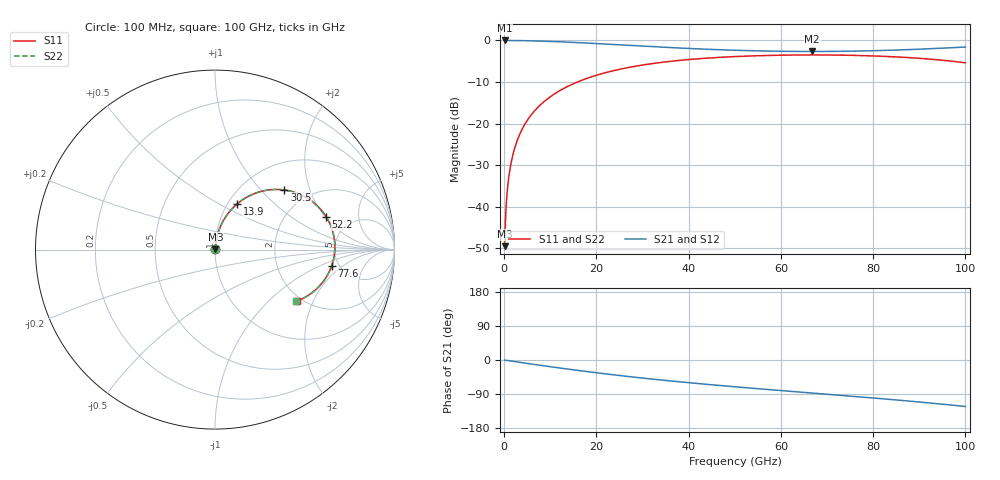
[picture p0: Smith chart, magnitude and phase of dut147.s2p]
! Touchstone file exported from HFSS 2026.1.0
!  File:  C:/ffzhzh/LocalFiles/Ansys_Project_Files/temp_train_RDL_147_1783499848_55944.aedt
!  Generated:  04:38:43 PM Jul  8, 2026
!  Design:  RDL
!  Project:  temp_train_RDL_147_1783499848_55944
! Variables:
!  h_bsmrdl = 2um
!  h_ox = 20um
!  h_rdl = 5um
!  h_sub = 80um
!  h_tmrdl = 3.86um
!  h_tsv = 80um
!  h_via = 3um
!  l_bsmrdl = 300um
!  l_sub = 819.27um
!  l_tmrdl = 419.27um
!  m_sub = 200um
!  pitch = 56.01um
!  r_tsv = 6um
!  s_tmrdl = 10um
!  w_bsmrdl = 18um
!  w_sub = 500um
!  w_tmrdl = 16.93um
!  x_tsv_center1 = 427.735um
!  x_tsv_center2 = 745.735um
!  x_tsv_center3 = 1181.935um
!  x_tsv_center4 = 1499.935um
!  x_tsv_center5 = 1936.135um
!  x_tsv_center6 = 2254.135um
# GHz S MA R 50.000000
! Terminal data exported
! Port[1] = TM_RDL1_1_T1
! Port[2] = TM_RDL1_1_T2
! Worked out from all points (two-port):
!   1000 points, 100 MHz to 100 GHz, reference 50 ohm
!   highest |S21| = -0.02 dB at 100 MHz (marker M1); lowest = -2.7 dB at 66.8 GHz (marker M2)
!   |S21| within 3 dB of the highest: start of sweep to end of sweep
!   lowest |S11| = -49.5 dB at 100 MHz (marker M3), VSWR 1.01, Z = 50.2 + j0.233 ohm
!   |S11| at or under -10 dB: start of sweep to 15.92 GHz
!   |S22| runs from -49.5 to -3.5 dB; largest |S21 - S12| = 1.4e-14
!   S11 on the Smith chart (normalised r, x): 100 MHz: 1.00, +0.00; 13.9 GHz: 1.10, +0.61; 30.5 GHz: 1.52, +1.37; 52.2 GHz: 3.27, +2.05; 77.6 GHz: 4.34, -1.40; 100 GHz: 1.87, -1.51
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0.1  0.003347 43.9  0.9976 -0.2  0.9976 -0.2  0.003347 43.9
! Gamma 0 0 0 0
! Port Impedance 50 0 50 0
0.4  0.009488 73.2  0.9973 -0.7  0.9973 -0.7  0.009488 73.2
0.8  0.01813 79.6  0.997 -1.5  0.997 -1.5  0.01813 79.6
1.3  0.02902 81.7  0.9966 -2.4  0.9966 -2.4  0.02902 81.7
1.7  0.03775 82.2  0.9962 -3.1  0.9962 -3.1  0.03776 82.2
2.2  0.04866 82.2  0.9956 -4.0  0.9956 -4.0  0.04866 82.2
3.4  0.07467 81.0  0.9935 -6.2  0.9935 -6.2  0.07467 81.0
5.2  0.113 78.3  0.989 -9.4  0.989 -9.4  0.113 78.3
7.5  0.1603 74.6  0.9814 -13.4  0.9814 -13.4  0.1603 74.6
10.4  0.2173 69.8  0.9693 -18.4  0.9693 -18.4  0.2173 69.8
13.9  0.2816 64.3  0.9517 -24.2  0.9517 -24.2  0.2816 64.2
16.8  0.3308 59.8  0.9353 -28.8  0.9353 -28.8  0.3308 59.8
23  0.4226 50.7  0.8971 -38.1  0.8971 -38.1  0.4227 50.6
30.5  0.5101 40.6  0.8505 -48.3  0.8505 -48.3  0.5101 40.6
33.4  0.5374 37.0  0.8336 -52.0  0.8336 -52.0  0.5375 37.0
50.1  0.6387 18.5  0.7601 -70.8  0.7601 -70.8  0.6388 18.5
52.2  0.6458 16.4  0.7542 -72.9  0.7542 -72.9  0.6459 16.4
66.7  0.6682 2.4  0.7351 -87.2  0.7351 -87.2  0.6683 2.3
66.8  0.6682 2.3  0.7351 -87.3  0.7351 -87.3  0.6683 2.2
77.6  0.656 -8.1  0.7455 -97.8  0.7455 -97.8  0.6562 -8.2
83.4  0.6388 -13.9  0.7597 -103.7  0.7597 -103.7  0.6389 -14.0
100  0.5372 -32.3  0.8315 -122.7  0.8315 -122.7  0.5374 -32.4
